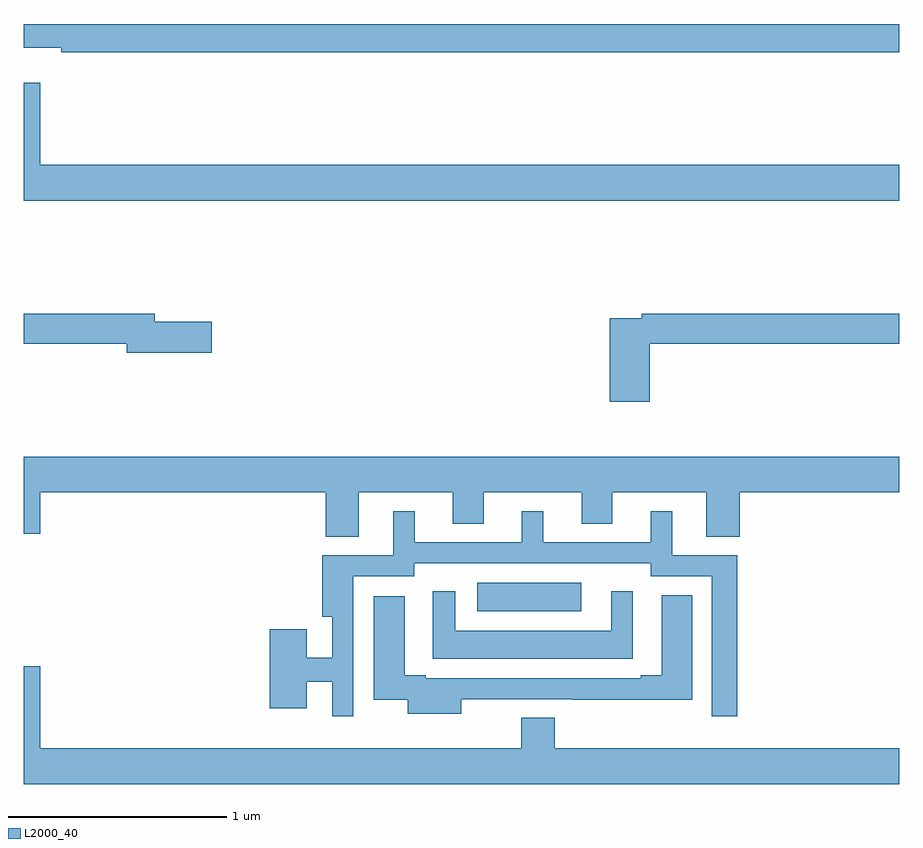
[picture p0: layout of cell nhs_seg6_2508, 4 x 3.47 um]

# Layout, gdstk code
import gdstk
lib = gdstk.Library(unit=1e-6, precision=1e-09)
def R(c, l, rs):  # rectangles x0, y0, x1, y1
    for r in rs: c.add(gdstk.rectangle(r[:2], r[2:], *l))
def P(c, l, *ps):  # polygons
    for p in ps: c.add(gdstk.Polygon(p, *l))
L2000_40 = (2000, 40)

nhs_seg6_2508 = lib.new_cell('nhs_seg6_2508')
R(nhs_seg6_2508, L2000_40, [(263.073,922.817,263.548,922.948)])
P(nhs_seg6_2508, L2000_40, [(265,925.5),(261,925.5),(261,925.391),(261.172,925.391),(261.172,925.372),(265,925.372)],
  [(265,924.856),(261.076,924.856),(261.076,925.231),(261,925.231),(261,924.692),(265,924.692)],
  [(263.861,924.04),(265,924.04),(265,924.176),(263.824,924.176),(263.824,924.156),(263.678,924.156),(263.678,923.775),(263.861,923.775)],
  [(261.859,924.14),(261.598,924.14),(261.598,924.176),(261,924.176),(261,924.04),(261.47,924.04),(261.47,923.998),(261.859,923.998)],
  [(262.531,923.36),(262.961,923.36),(262.961,923.218),(263.101,923.218),(263.101,923.36),(263.549,923.36),(263.549,923.218),(263.689,923.218),(263.689,923.36),(264.119,923.36),(264.119,923.158),(264.272,923.158),(264.272,923.36),(265,923.36),(265,923.524),(261,923.524),(261,923.172),(261.076,923.172),(261.076,923.36),(262.379,923.36),(262.379,923.158),(262.531,923.158)],
  [(262.506,922.977),(262.785,922.977),(262.785,923.037),(263.865,923.037),(263.865,922.977),(264.144,922.977),(264.144,922.338),(264.26,922.338),(264.26,923.073),(263.962,923.073),(263.962,923.275),(263.864,923.275),(263.864,923.133),(263.374,923.133),(263.374,923.275),(263.276,923.275),(263.276,923.133),(262.786,923.133),(262.786,923.275),(262.688,923.275),(262.688,923.073),(262.364,923.073),(262.364,922.793),(262.41,922.793),(262.41,922.604),(262.294,922.604),(262.294,922.735),(262.124,922.735),(262.124,922.374),(262.294,922.374),(262.294,922.494),(262.41,922.494),(262.41,922.338),(262.506,922.338)],
  [(263.782,922.909),(263.684,922.909),(263.684,922.729),(262.972,922.729),(262.972,922.909),(262.868,922.909),(262.868,922.601),(263.782,922.601)],
  [(262.999,922.416),(263.509,922.416),(263.509,922.414),(264.055,922.414),(264.055,922.891),(263.915,922.891),(263.915,922.525),(263.819,922.525),(263.819,922.512),(262.837,922.512),(262.837,922.525),(262.741,922.525),(262.741,922.885),(262.598,922.885),(262.598,922.414),(262.754,922.414),(262.754,922.349),(262.999,922.349)],
  [(265,922.192),(263.426,922.192),(263.426,922.331),(263.273,922.331),(263.273,922.192),(261.076,922.192),(261.076,922.567),(261,922.567),(261,922.028),(265,922.028)])

lib.write_gds('nhs_seg6_2508.gds')
